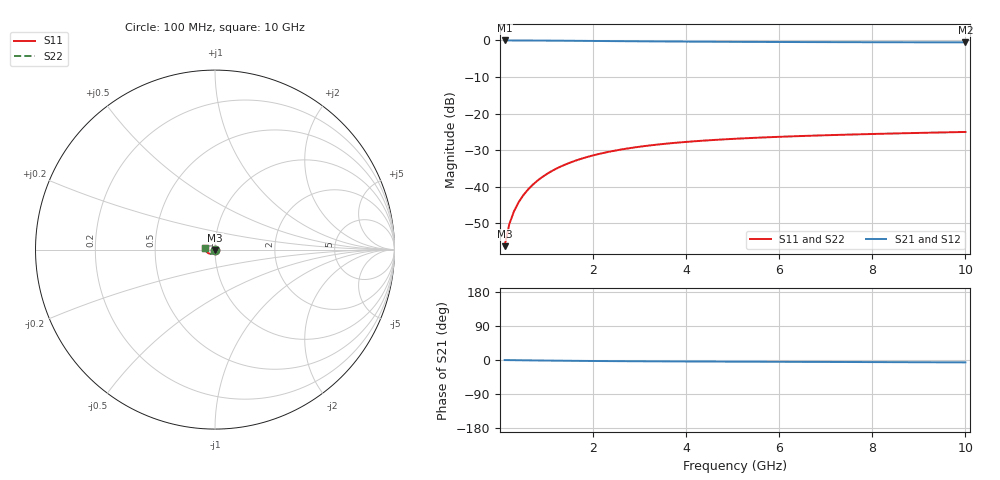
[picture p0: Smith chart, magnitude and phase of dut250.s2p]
! Touchstone file exported from HFSS 2024.1.0
!  File:  C:/UserFiles/LocalFiles/RDL_TSV_Batchsim/temp_TSV1_250_1779390416.aedt
!  Generated:  03:12:45 AM May 22, 2026
!  Design:  TSV1
!  Project:  temp_TSV1_250_1779390416
!  Setup:  Setup1
!  Solution:  Sweep
! Variables:
!  dtsv = 10.53um
!  hbump = 3um
!  htsv = 99.47um
!  lrdl = 252.1521522um
!  p = 40
!  p1 = 55.42um
!  t = 500um
!  trdl = 3um
!  wrdl = 24.89489489um
# GHz S MA R 50.000000
! Terminal data exported
! Port[1] = TSV22_T1
! Port[2] = TSV22_T2
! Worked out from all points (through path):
!   100 points, 100 MHz to 10 GHz, reference 50 ohm
!   highest |S21| = 0.00 dB at 100 MHz (marker M1); lowest = -0.5 dB at 10 GHz (marker M2)
!   lowest |S11| = -56.2 dB at 100 MHz (marker M3), VSWR 1.00, Z = 50 - j0.154 ohm
!   |S11| at or under -10 dB: start of sweep to end of sweep
!   |S22| runs from -56.2 to -25.0 dB; largest |S21 - S12| = 3.4e-15
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0.1  0.001541 -86.4  0.9998 -0.2  0.9998 -0.2  0.001541 -86.4
! Gamma 0 0 0 0
! Port Impedance 50 0 50 0
0.2  0.00307 -91.0  0.9996 -0.3  0.9996 -0.3  0.00307 -91.0
0.3  0.004599 -93.7  0.9993 -0.5  0.9993 -0.5  0.004599 -93.7
0.4  0.006121 -96.1  0.999 -0.6  0.999 -0.6  0.006121 -96.1
0.5  0.00763 -98.3  0.9985 -0.8  0.9985 -0.8  0.00763 -98.3
0.6  0.009124 -100.4  0.9979 -0.9  0.9979 -0.9  0.009124 -100.4
0.7  0.0106 -102.4  0.9973 -1.1  0.9973 -1.1  0.0106 -102.4
0.8  0.01204 -104.4  0.9966 -1.2  0.9966 -1.2  0.01204 -104.4
0.9  0.01346 -106.3  0.9958 -1.3  0.9958 -1.3  0.01346 -106.3
1.1  0.01621 -110.1  0.994 -1.6  0.994 -1.6  0.01621 -110.1
1.4  0.02008 -115.5  0.991 -2.0  0.991 -2.0  0.02008 -115.5
1.6  0.02248 -118.9  0.9888 -2.2  0.9888 -2.2  0.02248 -118.9
1.8  0.02472 -122.2  0.9866 -2.4  0.9866 -2.4  0.02472 -122.2
2.1  0.02781 -126.8  0.9831 -2.7  0.9831 -2.7  0.02781 -126.8
2.5  0.03143 -132.5  0.9786 -3.0  0.9786 -3.0  0.03143 -132.5
2.9  0.03454 -137.7  0.9744 -3.3  0.9744 -3.3  0.03454 -137.7
3.4  0.03781 -143.5  0.9695 -3.6  0.9695 -3.6  0.03781 -143.5
4.2  0.04194 -151.7  0.9629 -4.0  0.9629 -4.0  0.04194 -151.7
5.1  0.04544 -159.4  0.9571 -4.4  0.9571 -4.4  0.04544 -159.4
6.7  0.04991 -170.5  0.9498 -5.0  0.9498 -5.0  0.04991 -170.5
8.4  0.05338 -179.9  0.9448 -5.7  0.9448 -5.7  0.05338 -179.9
10  0.05611 172.6  0.9416 -6.3  0.9416 -6.3  0.05611 172.6
